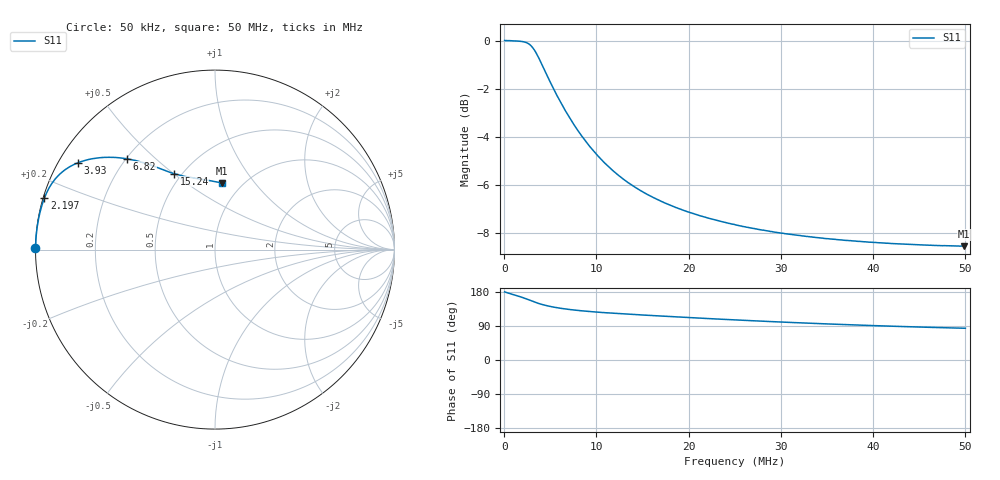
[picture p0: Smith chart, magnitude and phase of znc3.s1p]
#  HZ  S  RI  R  50.00
! Rohde & Schwarz Vector Network Analyzer
! Rohde-Schwarz,ZNC3-2Port,1311600412101324,1.93
! Created: UTC 5/4/2020, 4:08:31 PM
! freq[Hz]  re:S11  im:S11
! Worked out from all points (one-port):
!   606 points, 50 kHz to 50 MHz, reference 50 ohm
!   lowest |S11| = -8.6 dB at 49.83 MHz (marker M1), VSWR 2.19, Z = 40.6 + j35 ohm
!   |S11| at or under -10 dB: nowhere
!   S11 on the Smith chart (normalised r, x): 50 kHz: -0.00, +0.00; 2.197 MHz: 0.00, +0.15; 3.93 MHz: 0.05, +0.29; 6.82 MHz: 0.20, +0.41; 15.24 MHz: 0.45, +0.50; 50 MHz: 0.81, +0.70
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50000  -1 0.00617
297686  -0.9986 0.0379
1205868  -0.9863 0.1542
1783802  -0.969 0.2306
2196612  -0.9505 0.2873
2691983  -0.916 0.3576
3187355  -0.8637 0.4216
3517603  -0.8207 0.4545
3930413  -0.7655 0.483
4425785  -0.7029 0.5023
5086281  -0.6302 0.513
5664215  -0.5763 0.5142
6324711  -0.5241 0.5106
6820083  -0.4902 0.5059
7398017  -0.4555 0.4992
7975950  -0.4252 0.492
9296942  -0.3689 0.4747
1.078306e7  -0.3213 0.4572
1.259942e7  -0.2775 0.4401
1.52414e7  -0.2293 0.4233
1.879157e7  -0.1796 0.4101
2.159868e7  -0.1473 0.4036
2.506628e7  -0.1124 0.3977
3.134099e7  -0.0605 0.3894
3.753314e7  -0.0195 0.3827
4.380785e7  0.0142 0.3761
4.983488e7  0.04 0.371
5e7  0.0406 0.3709
